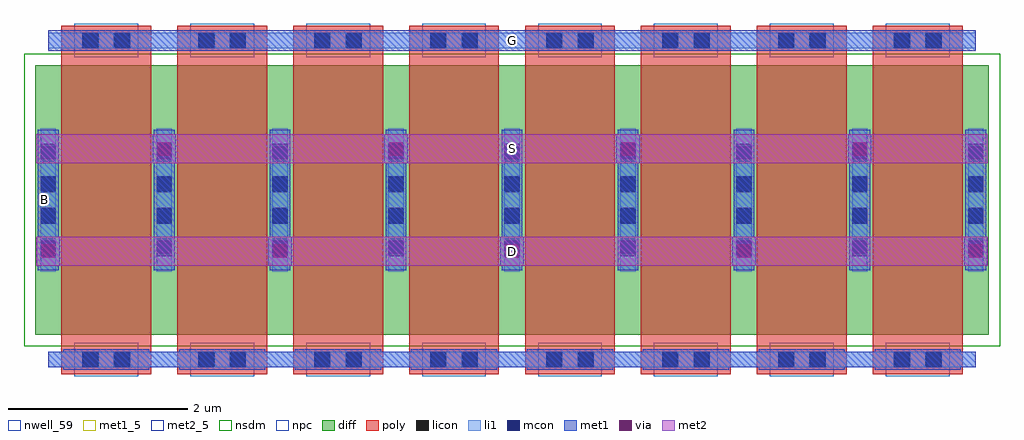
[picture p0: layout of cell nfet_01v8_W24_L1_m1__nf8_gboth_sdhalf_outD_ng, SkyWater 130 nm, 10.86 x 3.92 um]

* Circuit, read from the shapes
.subckt nfet_01v8_W24_L1_m1__nf8_gboth_sdhalf_outD_ng B D G S
XM1 S G D B sky130_fd_pr__nfet_01v8 w=3 l=1 m=8
.ends

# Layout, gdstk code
import gdstk
lib = gdstk.Library(unit=1e-6, precision=1e-09)
def R(c, l, rs):  # rectangles x0, y0, x1, y1
    for r in rs: c.add(gdstk.rectangle(r[:2], r[2:], *l))
def A(c, l, x, y, w, h, nx, ny, dx, dy):  # array of equal rectangles
    R(c, l, [(x+i*dx, y+j*dy, x+i*dx+w, y+j*dy+h) for i in range(nx) for j in range(ny)])
nwell_59 = (64, 59)
diff = (65, 20)
poly = (66, 20)
licon = (66, 44)
li1 = (67, 20)
mcon = (67, 44)
met1_5 = (68, 5)
met1 = (68, 20)
via = (68, 44)
met2_5 = (69, 5)
met2 = (69, 20)
nsdm = (93, 44)
npc = (95, 20)

sky130_fd_pr__nfet_01v8_ = lib.new_cell('sky130_fd_pr__nfet_01v8_TML3QN')
R(sky130_fd_pr__nfet_01v8_, diff, [(-5.305,-1.5,5.305,1.5)])
A(sky130_fd_pr__nfet_01v8_, poly, -5.015, -1.94, 1, 3.88, 8, 1, 1.29, 0)
A(sky130_fd_pr__nfet_01v8_, licon, -5.245, -0.595, 0.17, 0.17, 9, 4, 1.29, 0.34)
R(sky130_fd_pr__nfet_01v8_, licon, [(-4.77,-1.86,-4.6,-1.69), (-4.43,-1.86,-4.26,-1.69), (-3.48,-1.86,-3.31,-1.69), (-3.14,-1.86,-2.97,-1.69), (-2.19,-1.86,-2.02,-1.69), (-1.85,-1.86,-1.68,-1.69), (-0.9,-1.86,-0.73,-1.69), (-0.56,-1.86,-0.39,-1.69), (0.39,-1.86,0.56,-1.69), (0.73,-1.86,0.9,-1.69), (1.68,-1.86,1.85,-1.69), (2.02,-1.86,2.19,-1.69), (2.97,-1.86,3.14,-1.69), (3.31,-1.86,3.48,-1.69), (4.26,-1.86,4.43,-1.69), (4.6,-1.86,4.77,-1.69), (-4.77,1.69,-4.6,1.86), (-4.43,1.69,-4.26,1.86), (-3.48,1.69,-3.31,1.86), (-3.14,1.69,-2.97,1.86), (-2.19,1.69,-2.02,1.86), (-1.85,1.69,-1.68,1.86), (-0.9,1.69,-0.73,1.86), (-0.56,1.69,-0.39,1.86), (0.39,1.69,0.56,1.86), (0.73,1.69,0.9,1.86), (1.68,1.69,1.85,1.86), (2.02,1.69,2.19,1.86), (2.97,1.69,3.14,1.86), (3.31,1.69,3.48,1.86), (4.26,1.69,4.43,1.86), (4.6,1.69,4.77,1.86)])
A(sky130_fd_pr__nfet_01v8_, li1, -5.245, -0.8, 0.17, 1.6, 9, 1, 1.29, 0)
R(sky130_fd_pr__nfet_01v8_, li1, [(-5.16,-1.86,5.16,-1.69), (-5.16,1.69,5.16,1.86)])
A(sky130_fd_pr__nfet_01v8_, mcon, -5.245, -0.625, 0.17, 0.17, 9, 4, 1.29, 0.36)
R(sky130_fd_pr__nfet_01v8_, mcon, [(-4.78,-1.86,-4.61,-1.69), (-4.42,-1.86,-4.25,-1.69), (-3.49,-1.86,-3.32,-1.69), (-3.13,-1.86,-2.96,-1.69), (-2.2,-1.86,-2.03,-1.69), (-1.84,-1.86,-1.67,-1.69), (-0.91,-1.86,-0.74,-1.69), (-0.55,-1.86,-0.38,-1.69), (0.38,-1.86,0.55,-1.69), (0.74,-1.86,0.91,-1.69), (1.67,-1.86,1.84,-1.69), (2.03,-1.86,2.2,-1.69), (2.96,-1.86,3.13,-1.69), (3.32,-1.86,3.49,-1.69), (4.25,-1.86,4.42,-1.69), (4.61,-1.86,4.78,-1.69), (-4.78,1.69,-4.61,1.86), (-4.42,1.69,-4.25,1.86), (-3.49,1.69,-3.32,1.86), (-3.13,1.69,-2.96,1.86), (-2.2,1.69,-2.03,1.86), (-1.84,1.69,-1.67,1.86), (-0.91,1.69,-0.74,1.86), (-0.55,1.69,-0.38,1.86), (0.38,1.69,0.55,1.86), (0.74,1.69,0.91,1.86), (1.67,1.69,1.84,1.86), (2.03,1.69,2.2,1.86), (2.96,1.69,3.13,1.86), (3.32,1.69,3.49,1.86), (4.25,1.69,4.42,1.86), (4.61,1.69,4.78,1.86)])
A(sky130_fd_pr__nfet_01v8_, met1, -4.995, -1.89, 0.96, 0.03, 8, 2, 1.29, 0.2)
A(sky130_fd_pr__nfet_01v8_, met1, -5.275, -0.78, 0.23, 1.56, 9, 1, 1.29, 0)
A(sky130_fd_pr__nfet_01v8_, met1, -4.995, 1.66, 0.96, 0.03, 8, 2, 1.29, 0.2)
R(sky130_fd_pr__nfet_01v8_, met1, [(-5.16,-1.86,5.16,-1.69), (-5.16,1.69,5.16,1.86)])
R(sky130_fd_pr__nfet_01v8_, nsdm, [(-5.43,-1.625,5.43,1.625)])
A(sky130_fd_pr__nfet_01v8_, npc, -4.87, -1.96, 0.71, 0.37, 8, 2, 1.29, 3.55)
sky130_fd_pr__nfet_01v8_.add(gdstk.Label('D0', (-5.16,0), layer=67, texttype=5))
sky130_fd_pr__nfet_01v8_.add(gdstk.Label('G', (4.515,1.775), layer=67, texttype=5))
sky130_fd_pr__nfet_01v8_.add(gdstk.Label('G', (3.225,1.775), layer=67, texttype=5))
sky130_fd_pr__nfet_01v8_.add(gdstk.Label('G', (1.935,1.775), layer=67, texttype=5))
sky130_fd_pr__nfet_01v8_.add(gdstk.Label('G', (0.645,1.775), layer=67, texttype=5))
sky130_fd_pr__nfet_01v8_.add(gdstk.Label('G', (-0.645,1.775), layer=67, texttype=5))
sky130_fd_pr__nfet_01v8_.add(gdstk.Label('G', (-1.935,1.775), layer=67, texttype=5))
sky130_fd_pr__nfet_01v8_.add(gdstk.Label('G', (-3.225,1.775), layer=67, texttype=5))
sky130_fd_pr__nfet_01v8_.add(gdstk.Label('G', (-4.515,1.775), layer=67, texttype=5))
sky130_fd_pr__nfet_01v8_.add(gdstk.Label('S1', (-3.87,0), layer=67, texttype=5))
sky130_fd_pr__nfet_01v8_.add(gdstk.Label('D2', (-2.58,0), layer=67, texttype=5))
sky130_fd_pr__nfet_01v8_.add(gdstk.Label('S3', (-1.29,0), layer=67, texttype=5))
sky130_fd_pr__nfet_01v8_.add(gdstk.Label('D4', (0,0), layer=67, texttype=5))
sky130_fd_pr__nfet_01v8_.add(gdstk.Label('S5', (1.29,0), layer=67, texttype=5))
sky130_fd_pr__nfet_01v8_.add(gdstk.Label('D6', (2.58,0), layer=67, texttype=5))
sky130_fd_pr__nfet_01v8_.add(gdstk.Label('S7', (3.87,0), layer=67, texttype=5))

nfet_01v8_w24_l1_m1__nf8 = lib.new_cell('nfet_01v8_W24_L1_m1__nf8_gboth_sdhalf_outD_ng')
R(nfet_01v8_w24_l1_m1__nf8, nwell_59, [(0.05,1.89,0.15,1.99)])
R(nfet_01v8_w24_l1_m1__nf8, met1_5, [(0.145,3.6,10.465,3.83)])
A(nfet_01v8_w24_l1_m1__nf8, met1, 0.015, 1.21, 0.26, 0.32, 5, 1, 2.58, 0)
A(nfet_01v8_w24_l1_m1__nf8, met1, 1.305, 2.35, 0.26, 0.32, 4, 1, 2.58, 0)
R(nfet_01v8_w24_l1_m1__nf8, met1, [(0.145,3.6,10.465,3.83)])
A(nfet_01v8_w24_l1_m1__nf8, via, 0.07, 1.295, 0.15, 0.15, 5, 1, 2.58, 0)
A(nfet_01v8_w24_l1_m1__nf8, via, 1.36, 2.435, 0.15, 0.15, 4, 1, 2.58, 0)
R(nfet_01v8_w24_l1_m1__nf8, met2_5, [(0.01,1.21,10.6,1.53), (0.01,2.35,10.6,2.67)])
R(nfet_01v8_w24_l1_m1__nf8, met2, [(0.01,1.21,10.6,1.53), (0.01,2.35,10.6,2.67)])
nfet_01v8_w24_l1_m1__nf8.add(gdstk.Reference(sky130_fd_pr__nfet_01v8_, (5.305,1.94)))
nfet_01v8_w24_l1_m1__nf8.add(gdstk.Label('S', (5.305,2.51), layer=69, texttype=5))
nfet_01v8_w24_l1_m1__nf8.add(gdstk.Label('D', (5.305,1.37), layer=69, texttype=5))
nfet_01v8_w24_l1_m1__nf8.add(gdstk.Label('G', (5.305,3.715), layer=68, texttype=5))
nfet_01v8_w24_l1_m1__nf8.add(gdstk.Label('B', (0.1,1.94), layer=64, texttype=59))

lib.write_gds('nfet_01v8_W24_L1_m1__nf8_gboth_sdhalf_outD_ng.gds')
